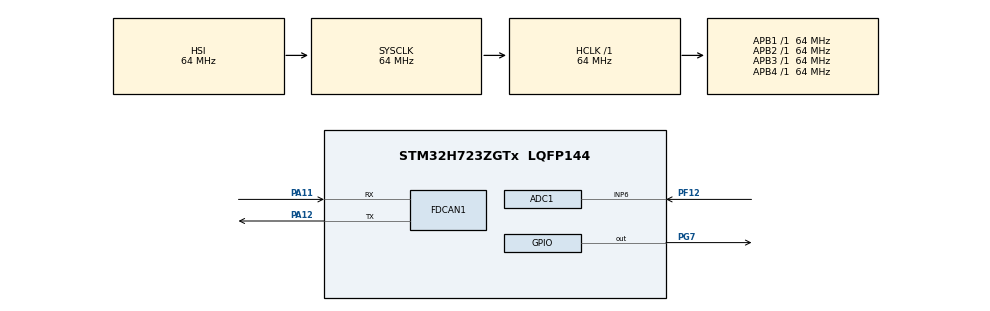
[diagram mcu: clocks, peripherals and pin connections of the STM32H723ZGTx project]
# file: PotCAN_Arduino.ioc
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ADC1.Channel-0\#ChannelRegularConversion=ADC_CHANNEL_6
ADC1.ClockPrescaler=ADC_CLOCK_ASYNC_DIV4
ADC1.ContinuousConvMode=ENABLE
ADC1.EOCSelection=ADC_EOC_SINGLE_CONV
ADC1.NbrOfConversion=1
ADC1.NbrOfConversionFlag=1
ADC1.OffsetNumber-0\#ChannelRegularConversion=ADC_OFFSET_NONE
ADC1.OffsetSignedSaturation-0\#ChannelRegularConversion=DISABLE
ADC1.Overrun=ADC_OVR_DATA_OVERWRITTEN
ADC1.Rank-0\#ChannelRegularConversion=1
ADC1.Resolution=ADC_RESOLUTION_16B
ADC1.SamplingTime-0\#ChannelRegularConversion=ADC_SAMPLETIME_2CYCLES_5
ADC1.master=1
FDCAN1.AutoRetransmission=ENABLE
FDCAN1.CalculateBaudRateNominal=500000
FDCAN1.CalculateTimeBitNominal=2000
FDCAN1.CalculateTimeQuantumNominal=125.0
FDCAN1.DataSyncJumpWidth=3
FDCAN1.DataTimeSeg1=4
FDCAN1.DataTimeSeg2=3
FDCAN1.FrameFormat=FDCAN_FRAME_CLASSIC
FDCAN1.NominalPrescaler=1
FDCAN1.NominalSyncJumpWidth=2
FDCAN1.NominalTimeSeg1=13
FDCAN1.NominalTimeSeg2=2
FDCAN1.RxBufferSize=FDCAN_DATA_BYTES_8
FDCAN1.RxFifo0ElmtSize=FDCAN_DATA_BYTES_8
FDCAN1.RxFifo0ElmtsNbr=1
FDCAN1.TxElmtSize=FDCAN_DATA_BYTES_8
FDCAN1.TxFifoQueueElmtsNbr=1
FDCAN1.TxFifoQueueMode=FDCAN_TX_QUEUE_OPERATION
Mcu.Family=STM32H7
Mcu.Name=STM32H723ZGTx
Mcu.Package=LQFP144
NVIC.PriorityGroup=NVIC_PRIORITYGROUP_4
PA11.Mode=FDCAN_Activate
PA11.Signal=FDCAN1_RX
PA12.Mode=FDCAN_Activate
PA12.Signal=FDCAN1_TX
PA13(JTMS/SWDIO).Mode=Serial_Wire
PA13(JTMS/SWDIO).Signal=DEBUG_JTMS-SWDIO
PA14(JTCK/SWCLK).Mode=Serial_Wire
PA14(JTCK/SWCLK).Signal=DEBUG_JTCK-SWCLK
PC14-OSC32_IN.Mode=LSE-External-Oscillator
PC14-OSC32_IN.Signal=RCC_OSC32_IN
PC15-OSC32_OUT.Mode=LSE-External-Oscillator
PC15-OSC32_OUT.Signal=RCC_OSC32_OUT
PF12.Mode=IN6-Single-Ended
PF12.Signal=ADC1_INP6
PG7.Signal=GPIO_Output
PH0-OSC_IN.Mode=HSE-External-Oscillator
PH0-OSC_IN.Signal=RCC_OSC_IN
PH1-OSC_OUT.Mode=HSE-External-Oscillator
PH1-OSC_OUT.Signal=RCC_OSC_OUT
ProjectManager.HeapSize=0x200
ProjectManager.StackSize=0x400
ProjectManager.TargetToolchain=STM32CubeIDE
RCC.ADCFreq_Value=38400000
RCC.APB1Freq_Value=64000000
RCC.APB2Freq_Value=64000000
RCC.APB3Freq_Value=64000000
RCC.APB4Freq_Value=64000000
RCC.CortexFreq_Value=64000000
RCC.DIVM1=4
RCC.DIVM2=4
RCC.DIVN1=12
RCC.DIVN2=12
RCC.DIVP2=5
RCC.DIVQ1=24
RCC.DIVQ2=24
RCC.FDCANCLockSelection=RCC_FDCANCLKSOURCE_PLL2
RCC.HCLKFreq_Value=64000000
RCC.PLL1_VCI_Range-AdvancedSettings=RCC_PLL1VCIRANGE_0
RCC.PLL1_VCO_SEL-AdvancedSettings=RCC_PLL1VCOMEDIUM
RCC.PLL2FRACN=0
RCC.PLL2_VCO_SEL-AdvancedSettings=RCC_PLL2VCOWIDE
RCC.PLL3FRACN=0
RCC.PLL3_VCI_Range-AdvancedSettings=RCC_PLL3VCIRANGE_3
RCC.PLL3_VCO_SEL-AdvancedSettings=RCC_PLL3VCOWIDE
RCC.PLLFRACN=0
RCC.SYSCLKFreq_VALUE=64000000
RCC.USBFreq_Value=8000000
board=custom

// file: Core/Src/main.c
/* USER CODE BEGIN Header */
/**
  ******************************************************************************
  * @file           : main.c
  * @brief          : Main program body
  ******************************************************************************
  * @attention
  *
  * Copyright (c) 2024 STMicroelectronics.
  * All rights reserved.
  *
  * This software is licensed under terms that can be found in the LICENSE file
  * in the root directory of this software component.
  * If no LICENSE file comes with this software, it is provided AS-IS.
  *
  ******************************************************************************
  */
/* USER CODE END Header */
#include "main.h"

ADC_HandleTypeDef hadc1;

FDCAN_HandleTypeDef hfdcan1;

/* USER CODE BEGIN PV */
FDCAN_TxHeaderTypeDef TxHeader;//renomeando a struct do Tx de TxHeader
FDCAN_RxHeaderTypeDef RxHeader;//renomeando a struct do Rx de RxHeader
uint16_t TxMailbox;
uint8_t TxData[8]; //foi declarado do começo que estamos testando com 8 bits e é um uint8_t
uint8_t RxData[8]; //por isso os dados tem que ter 16 de tamanho de array 0 a 255
/* USER CODE END PV */

void SystemClock_Config(void);
void PeriphCommonClock_Config(void);
static void MX_GPIO_Init(void);
static void MX_ADC1_Init(void);
static void MX_FDCAN1_Init(void);

int main(void)
{

  /* MCU Configuration--------------------------------------------------------*/

  /* Reset of all peripherals, Initializes the Flash interface and the Systick. */
  HAL_Init();

  /* Configure the system clock */
  SystemClock_Config();

/* Configure the peripherals common clocks */
  PeriphCommonClock_Config();

  /* Initialize all configured peripherals */
  MX_GPIO_Init();
  MX_ADC1_Init();
  MX_FDCAN1_Init();
  /* USER CODE BEGIN 2 */
  uint16_t valorPot = 0;

      if(HAL_FDCAN_Start(&hfdcan1) != HAL_OK){

    	  Error_Handler();
      }

      if(HAL_FDCAN_ActivateNotification(&hfdcan1, FDCAN_IT_RX_FIFO0_NEW_MESSAGE, 0)!= HAL_OK){
    	  Error_Handler();

      }

      // Configurando os parâmetros da mensagem
        TxHeader.Identifier = 0x14; // Identificador da mensagem
        TxHeader.IdType = FDCAN_STANDARD_ID; // Tipo de identificador: Padrão
        TxHeader.TxFrameType = FDCAN_DATA_FRAME; // Tipo de quadro: Quadro de dados
        TxHeader.DataLength = FDCAN_DLC_BYTES_8; // Comprimento dos dados: 8 bytes
        TxHeader.ErrorStateIndicator = FDCAN_ESI_ACTIVE; // Indicador de estado de erro ativo
        TxHeader.BitRateSwitch = FDCAN_BRS_OFF; // Troca de taxa de bits desativada
        TxHeader.FDFormat = FDCAN_CLASSIC_CAN; // Formato CAN clasica
        TxHeader.TxEventFifoControl = FDCAN_STORE_TX_EVENTS; // Sem controle de FIFO de evento de transmissão
        TxHeader.MessageMarker = 0; // Marcador de mensagem
  /* USER CODE END 2 */

  /* Infinite loop */
  /* USER CODE BEGIN WHILE */

while (1)
  {
	  HAL_ADC_Start(&hadc1);
		for(int i = 0; i<4; i = i+2){
		HAL_ADC_PollForConversion(&hadc1, 1000);
		valorPot = HAL_ADC_GetValue(&hadc1);
		TxMailbox = valorPot;
		TxData[i] = TxMailbox & 0xFF;
		TxData[i+1] = (TxMailbox>>8) & 0xFF;
	  		}
		HAL_FDCAN_AddMessageToTxFifoQ(&hfdcan1, &TxHeader, TxData);

		/*
		if (HAL_FDCAN_GetRxFifoFillLevel(&hfdcan1, FDCAN_RX_FIFO0) != 0){
		    	  if (HAL_FDCAN_GetRxMessage(&hfdcan1, FDCAN_RX_FIFO0, &RxHeader, RxData) == HAL_OK){
		    		  for(int i = 0; i<8; i++){
		    			  RxData[i] = RxData[i];
		    			  */

    /* USER CODE END WHILE */

  }
}

void SystemClock_Config(void)
{
  RCC_OscInitTypeDef RCC_OscInitStruct = {0};
  RCC_ClkInitTypeDef RCC_ClkInitStruct = {0};

  /** Supply configuration update enable
  */
  HAL_PWREx_ConfigSupply(PWR_LDO_SUPPLY);

  /** Configure the main internal regulator output voltage
  */
  __HAL_PWR_VOLTAGESCALING_CONFIG(PWR_REGULATOR_VOLTAGE_SCALE3);

  while(!__HAL_PWR_GET_FLAG(PWR_FLAG_VOSRDY)) {}

  /** Macro to configure the PLL clock source
  */
  __HAL_RCC_PLL_PLLSOURCE_CONFIG(RCC_PLLSOURCE_HSI);

  /** Initializes the RCC Oscillators according to the specified parameters
  * in the RCC_OscInitTypeDef structure.
  */
  RCC_OscInitStruct.OscillatorType = RCC_OSCILLATORTYPE_HSI;
  RCC_OscInitStruct.HSIState = RCC_HSI_DIV1;
  RCC_OscInitStruct.HSICalibrationValue = 64;
  RCC_OscInitStruct.PLL.PLLState = RCC_PLL_NONE;
  if (HAL_RCC_OscConfig(&RCC_OscInitStruct) != HAL_OK)
  {
    Error_Handler();
  }

  /** Initializes the CPU, AHB and APB buses clocks
  */
  RCC_ClkInitStruct.ClockType = RCC_CLOCKTYPE_HCLK|RCC_CLOCKTYPE_SYSCLK
                              |RCC_CLOCKTYPE_PCLK1|RCC_CLOCKTYPE_PCLK2
                              |RCC_CLOCKTYPE_D3PCLK1|RCC_CLOCKTYPE_D1PCLK1;
  RCC_ClkInitStruct.SYSCLKSource = RCC_SYSCLKSOURCE_HSI;
  RCC_ClkInitStruct.SYSCLKDivider = RCC_SYSCLK_DIV1;
  RCC_ClkInitStruct.AHBCLKDivider = RCC_HCLK_DIV1;
  RCC_ClkInitStruct.APB3CLKDivider = RCC_APB3_DIV1;
  RCC_ClkInitStruct.APB1CLKDivider = RCC_APB1_DIV1;
  RCC_ClkInitStruct.APB2CLKDivider = RCC_APB2_DIV1;
  RCC_ClkInitStruct.APB4CLKDivider = RCC_APB4_DIV1;

  if (HAL_RCC_ClockConfig(&RCC_ClkInitStruct, FLASH_LATENCY_1) != HAL_OK)
  {
    Error_Handler();
  }
}

void PeriphCommonClock_Config(void)
{
  RCC_PeriphCLKInitTypeDef PeriphClkInitStruct = {0};

  /** Initializes the peripherals clock
  */
  PeriphClkInitStruct.PeriphClockSelection = RCC_PERIPHCLK_ADC|RCC_PERIPHCLK_FDCAN;
  PeriphClkInitStruct.PLL2.PLL2M = 4;
  PeriphClkInitStruct.PLL2.PLL2N = 12;
  PeriphClkInitStruct.PLL2.PLL2P = 5;
  PeriphClkInitStruct.PLL2.PLL2Q = 24;
  PeriphClkInitStruct.PLL2.PLL2R = 2;
  PeriphClkInitStruct.PLL2.PLL2RGE = RCC_PLL2VCIRANGE_3;
  PeriphClkInitStruct.PLL2.PLL2VCOSEL = RCC_PLL2VCOWIDE;
  PeriphClkInitStruct.PLL2.PLL2FRACN = 0;
  PeriphClkInitStruct.FdcanClockSelection = RCC_FDCANCLKSOURCE_PLL2;
  PeriphClkInitStruct.AdcClockSelection = RCC_ADCCLKSOURCE_PLL2;
  if (HAL_RCCEx_PeriphCLKConfig(&PeriphClkInitStruct) != HAL_OK)
  {
    Error_Handler();
  }
}

static void MX_ADC1_Init(void)
{

  ADC_MultiModeTypeDef multimode = {0};
  ADC_ChannelConfTypeDef sConfig = {0};

  /** Common config
  */
  hadc1.Instance = ADC1;
  hadc1.Init.ClockPrescaler = ADC_CLOCK_ASYNC_DIV4;
  hadc1.Init.Resolution = ADC_RESOLUTION_16B;
  hadc1.Init.ScanConvMode = ADC_SCAN_DISABLE;
  hadc1.Init.EOCSelection = ADC_EOC_SINGLE_CONV;
  hadc1.Init.LowPowerAutoWait = DISABLE;
  hadc1.Init.ContinuousConvMode = ENABLE;
  hadc1.Init.NbrOfConversion = 1;
  hadc1.Init.DiscontinuousConvMode = DISABLE;
  hadc1.Init.ExternalTrigConv = ADC_SOFTWARE_START;
  hadc1.Init.ExternalTrigConvEdge = ADC_EXTERNALTRIGCONVEDGE_NONE;
  hadc1.Init.ConversionDataManagement = ADC_CONVERSIONDATA_DR;
  hadc1.Init.Overrun = ADC_OVR_DATA_OVERWRITTEN;
  hadc1.Init.LeftBitShift = ADC_LEFTBITSHIFT_NONE;
  hadc1.Init.OversamplingMode = DISABLE;
  if (HAL_ADC_Init(&hadc1) != HAL_OK)
  {
    Error_Handler();
  }

  /** Configure the ADC multi-mode
  */
  multimode.Mode = ADC_MODE_INDEPENDENT;
  if (HAL_ADCEx_MultiModeConfigChannel(&hadc1, &multimode) != HAL_OK)
  {
    Error_Handler();
  }

  /** Configure Regular Channel
  */
  sConfig.Channel = ADC_CHANNEL_6;
  sConfig.Rank = ADC_REGULAR_RANK_1;
  sConfig.SamplingTime = ADC_SAMPLETIME_2CYCLES_5;
  sConfig.SingleDiff = ADC_SINGLE_ENDED;
  sConfig.OffsetNumber = ADC_OFFSET_NONE;
  sConfig.Offset = 0;
  sConfig.OffsetSignedSaturation = DISABLE;
  if (HAL_ADC_ConfigChannel(&hadc1, &sConfig) != HAL_OK)
  {
    Error_Handler();
  }

}

static void MX_FDCAN1_Init(void)
{

  hfdcan1.Instance = FDCAN1;
  hfdcan1.Init.FrameFormat = FDCAN_FRAME_CLASSIC;
  hfdcan1.Init.Mode = FDCAN_MODE_NORMAL;
  hfdcan1.Init.AutoRetransmission = ENABLE;
  hfdcan1.Init.TransmitPause = DISABLE;
  hfdcan1.Init.ProtocolException = DISABLE;
  hfdcan1.Init.NominalPrescaler = 1;
  hfdcan1.Init.NominalSyncJumpWidth = 2;
  hfdcan1.Init.NominalTimeSeg1 = 13;
  hfdcan1.Init.NominalTimeSeg2 = 2;
  hfdcan1.Init.DataPrescaler = 1;
  hfdcan1.Init.DataSyncJumpWidth = 3;
  hfdcan1.Init.DataTimeSeg1 = 4;
  hfdcan1.Init.DataTimeSeg2 = 3;
  hfdcan1.Init.MessageRAMOffset = 0;
  hfdcan1.Init.StdFiltersNbr = 0;
  hfdcan1.Init.ExtFiltersNbr = 0;
  hfdcan1.Init.RxFifo0ElmtsNbr = 1;
  hfdcan1.Init.RxFifo0ElmtSize = FDCAN_DATA_BYTES_8;
  hfdcan1.Init.RxFifo1ElmtsNbr = 0;
  hfdcan1.Init.RxFifo1ElmtSize = FDCAN_DATA_BYTES_8;
  hfdcan1.Init.RxBuffersNbr = 0;
  hfdcan1.Init.RxBufferSize = FDCAN_DATA_BYTES_8;
  hfdcan1.Init.TxEventsNbr = 0;
  hfdcan1.Init.TxBuffersNbr = 0;
  hfdcan1.Init.TxFifoQueueElmtsNbr = 1;
  hfdcan1.Init.TxFifoQueueMode = FDCAN_TX_QUEUE_OPERATION;
  hfdcan1.Init.TxElmtSize = FDCAN_DATA_BYTES_8;
  if (HAL_FDCAN_Init(&hfdcan1) != HAL_OK)
  {
    Error_Handler();
  }
  /* USER CODE BEGIN FDCAN1_Init 2 */
  FDCAN_FilterTypeDef sFilterConfig;

      sFilterConfig.IdType = FDCAN_STANDARD_ID; //Dados são tipos Standard
      sFilterConfig .FilterIndex = 0;    // �?ndice do filtro (0 a 127 para IdType padrão)
      sFilterConfig.FilterType = FDCAN_FILTER_MASK;   // Tipo de filtro: Máscara
      sFilterConfig.FilterConfig = FDCAN_FILTER_TO_RXFIFO0;  // Configuração do filtro para receber mensagens no FIFO0
      sFilterConfig.FilterID1 = 0x14;  // Identificador 1 do filtro (0 a 0x7FF para IdType padrão)
      sFilterConfig.FilterID2 = 0x14; // Identificador 2 do filtro (Ignorado para mensagens padrão)
      sFilterConfig.RxBufferIndex = 0;  // �?ndice do buffer de recepção (0 a 63)
      sFilterConfig.IsCalibrationMsg = 0;// Não é uma mensagem de calibração se for 1 é uma msg de calibração

      if (HAL_FDCAN_ConfigFilter(&hfdcan1, &sFilterConfig) != HAL_OK){
    	  Error_Handler();
      }
  /* USER CODE END FDCAN1_Init 2 */

}

static void MX_GPIO_Init(void)
{
  GPIO_InitTypeDef GPIO_InitStruct = {0};

  /* GPIO Ports Clock Enable */
  __HAL_RCC_GPIOC_CLK_ENABLE();
  __HAL_RCC_GPIOH_CLK_ENABLE();
  __HAL_RCC_GPIOF_CLK_ENABLE();
  __HAL_RCC_GPIOG_CLK_ENABLE();
  __HAL_RCC_GPIOA_CLK_ENABLE();

  /*Configure GPIO pin Output Level */
  HAL_GPIO_WritePin(GPIOG, GPIO_PIN_7, GPIO_PIN_RESET);

  /*Configure GPIO pin : PG7 */
  GPIO_InitStruct.Pin = GPIO_PIN_7;
  GPIO_InitStruct.Mode = GPIO_MODE_OUTPUT_PP;
  GPIO_InitStruct.Pull = GPIO_NOPULL;
  GPIO_InitStruct.Speed = GPIO_SPEED_FREQ_LOW;
  HAL_GPIO_Init(GPIOG, &GPIO_InitStruct);

}

void Error_Handler(void)
{
  /* USER CODE BEGIN Error_Handler_Debug */
  /* User can add his own implementation to report the HAL error return state */
  __disable_irq();
  while (1)
  {
	  HAL_GPIO_WritePin(GPIOG, GPIO_PIN_7, GPIO_PIN_SET);
  }
  /* USER CODE END Error_Handler_Debug */
}
